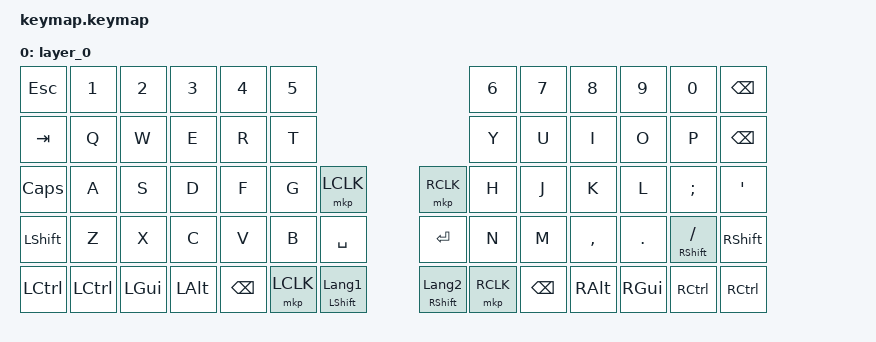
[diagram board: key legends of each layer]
#include <behaviors.dtsi>
#include <dt-bindings/zmk/bt.h>
#include <dt-bindings/zmk/keys.h>
#include <dt-bindings/zmk/pointing.h>

/ {
    combos {
        compatible = "zmk,combos";

        bt_clear {
            bindings = <&bt BT_CLR>;
            key-positions = <28 29>;
        };
    };

    keymap {
        compatible = "zmk,keymap";

        layer_0 {
            bindings = <
&kp ESC    &kp N1     &kp N2    &kp N3    &kp N4    &kp N5                                                       &kp N6     &kp N7    &kp N8     &kp N9    &kp N0                &kp BSPC
&kp TAB    &kp Q      &kp W     &kp E     &kp R     &kp T                                                        &kp Y      &kp U     &kp I      &kp O     &kp P                 &kp BSPC
&kp CAPS   &kp A      &kp S     &kp D     &kp F     &kp G      &mkp LCLK                  &mkp RCLK              &kp H      &kp J     &kp K      &kp L     &kp SEMI              &kp SQT
&kp LSHFT  &kp Z      &kp X     &kp C     &kp V     &kp B      &kp SPACE                  &kp RET                &kp N      &kp M     &kp COMMA  &kp DOT   &mt RIGHT_SHIFT FSLH  &kp RSHFT
&kp LCTRL  &kp LCTRL  &kp LGUI  &kp LALT  &kp BSPC  &mkp LCLK  &mt LEFT_SHIFT LANGUAGE_1  &mt RSHIFT LANGUAGE_2  &mkp RCLK  &kp BSPC  &kp RALT   &kp RGUI  &kp RCTRL             &kp RCTRL
            >;
        };
    };
};
